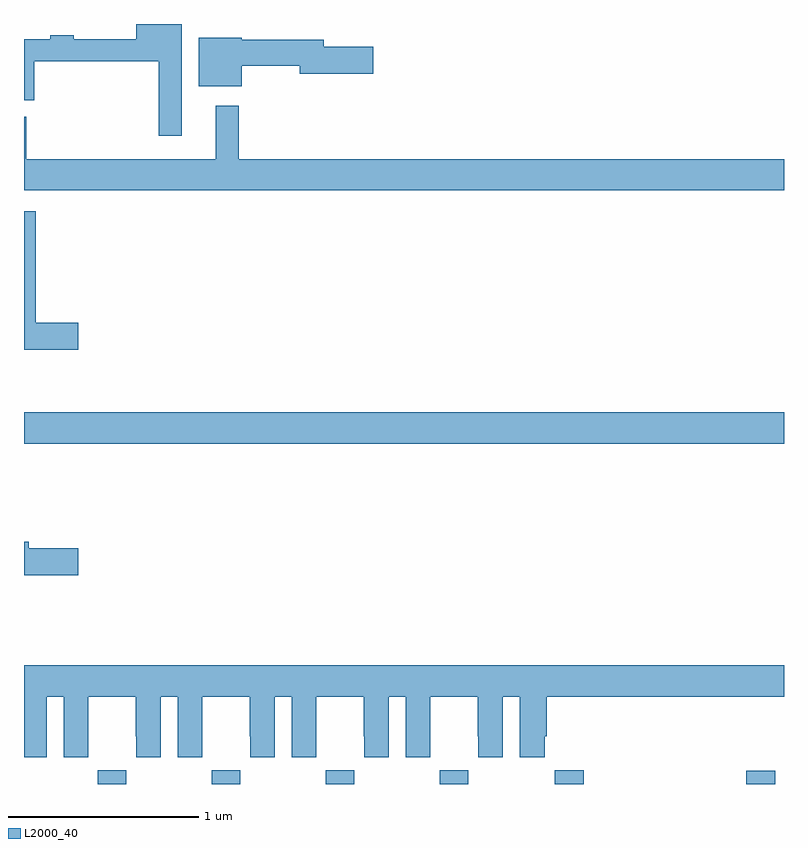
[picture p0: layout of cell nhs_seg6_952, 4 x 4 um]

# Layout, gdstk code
import gdstk
lib = gdstk.Library(unit=1e-6, precision=1e-09)
def R(c, l, rs):  # rectangles x0, y0, x1, y1
    for r in rs: c.add(gdstk.rectangle(r[:2], r[2:], *l))
def A(c, l, x, y, w, h, nx, ny, dx, dy):  # array of equal rectangles
    R(c, l, [(x+i*dx, y+j*dy, x+i*dx+w, y+j*dy+h) for i in range(nx) for j in range(ny)])
def P(c, l, *ps):  # polygons
    for p in ps: c.add(gdstk.Polygon(p, *l))
L2000_40 = (2000, 40)

nhs_seg6_952 = lib.new_cell('nhs_seg6_952')
A(nhs_seg6_952, L2000_40, 169.389, 989.5, 0.15, 0.072, 4, 1, 0.6, 0)
R(nhs_seg6_952, L2000_40, [(171.793,989.5,171.947,989.572), (172.802,989.5,172.954,989.571), (169,991.292,173,991.456)])
P(nhs_seg6_952, L2000_40, [(169.831,993.5),(169.592,993.5),(169.592,993.421),(169.262,993.421),(169.262,993.44),(169.138,993.44),(169.138,993.42),(169,993.42),(169,993.098),(169.055,993.098),(169.055,993.304),(169.71,993.304),(169.71,992.913),(169.831,992.913)],
  [(170.146,993.28),(170.45,993.28),(170.45,993.238),(170.839,993.238),(170.839,993.38),(170.578,993.38),(170.578,993.416),(170.146,993.416),(170.146,993.427),(169.919,993.427),(169.919,993.173),(170.146,993.173)],
  [(173,992.788),(170.131,992.788),(170.131,993.07),(170.009,993.07),(170.009,992.788),(169.013,992.788),(169.013,993.013),(169,993.013),(169,992.624),(173,992.624)],
  [(169.285,991.928),(169.061,991.928),(169.061,992.514),(169,992.514),(169,991.786),(169.285,991.786)],
  [(169.285,990.74),(169.024,990.74),(169.024,990.776),(169,990.776),(169,990.598),(169.285,990.598)],
  [(169.12,989.96),(169.208,989.96),(169.208,989.64),(169.338,989.64),(169.338,989.752),(169.339,989.752),(169.339,989.96),(169.589,989.96),(169.589,989.752),(169.59,989.752),(169.59,989.64),(169.72,989.64),(169.72,989.96),(169.808,989.96),(169.808,989.64),(169.938,989.64),(169.938,989.752),(169.939,989.752),(169.939,989.96),(170.189,989.96),(170.189,989.752),(170.19,989.752),(170.19,989.64),(170.32,989.64),(170.32,989.96),(170.408,989.96),(170.408,989.64),(170.538,989.64),(170.538,989.752),(170.539,989.752),(170.539,989.96),(170.789,989.96),(170.789,989.752),(170.79,989.752),(170.79,989.64),(170.92,989.64),(170.92,989.96),(171.008,989.96),(171.008,989.64),(171.138,989.64),(171.138,989.752),(171.139,989.752),(171.139,989.96),(171.389,989.96),(171.389,989.752),(171.39,989.752),(171.39,989.64),(171.52,989.64),(171.52,989.96),(171.608,989.96),(171.608,989.64),(171.742,989.64),(171.742,989.752),(171.752,989.752),(171.752,989.96),(173,989.96),(173,990.124),(169,990.124),(169,989.64),(169.12,989.64)])

lib.write_gds('nhs_seg6_952.gds')
